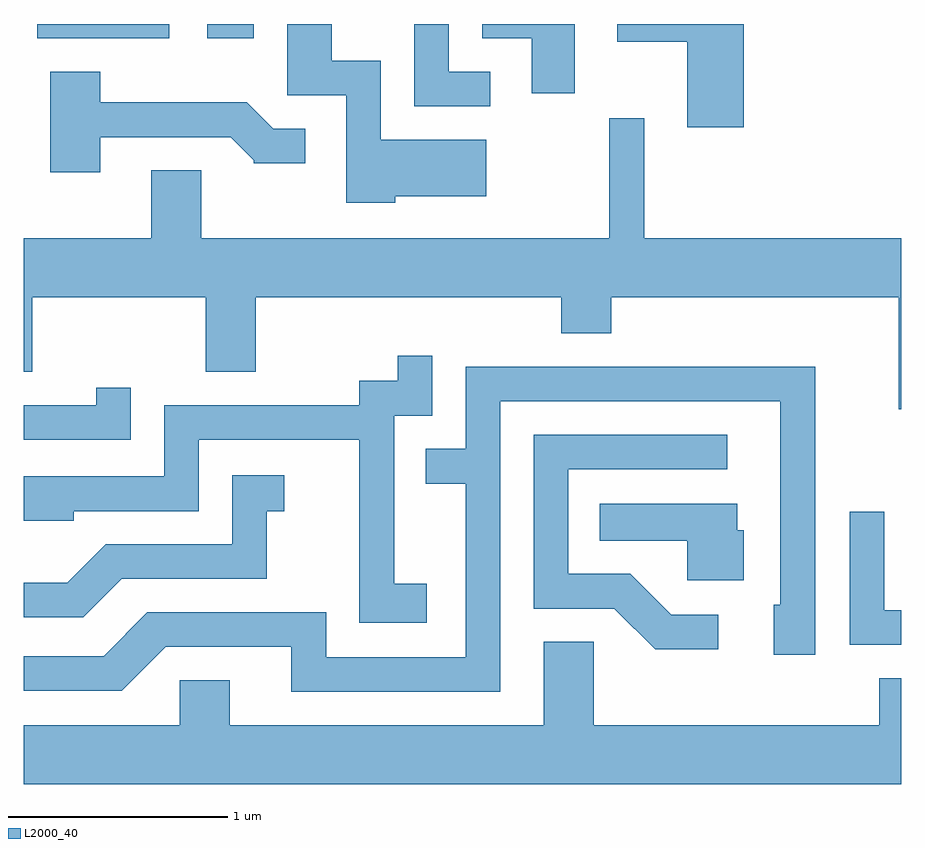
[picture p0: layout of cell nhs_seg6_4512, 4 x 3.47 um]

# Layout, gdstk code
import gdstk
lib = gdstk.Library(unit=1e-6, precision=1e-09)
def R(c, l, rs):  # rectangles x0, y0, x1, y1
    for r in rs: c.add(gdstk.rectangle(r[:2], r[2:], *l))
def P(c, l, *ps):  # polygons
    for p in ps: c.add(gdstk.Polygon(p, *l))
L2000_40 = (2000, 40)

nhs_seg6_4512 = lib.new_cell('nhs_seg6_4512')
R(nhs_seg6_4512, L2000_40, [(323.671,1560.096,324.274,1560.162), (324.446,1560.096,324.659,1560.162)])
P(nhs_seg6_4512, L2000_40, [(326.124,1560.162),(325.701,1560.162),(325.701,1560.096),(325.926,1560.096),(325.926,1559.846),(326.124,1559.846)],
  [(326.894,1560.162),(326.316,1560.162),(326.316,1560.081),(326.636,1560.081),(326.636,1559.691),(326.894,1559.691)],
  [(325.738,1559.944),(325.549,1559.944),(325.549,1560.162),(325.391,1560.162),(325.391,1559.786),(325.738,1559.786)],
  [(325.304,1559.376),(325.719,1559.376),(325.719,1559.634),(325.239,1559.634),(325.239,1559.994),(325.014,1559.994),(325.014,1560.162),(324.811,1560.162),(324.811,1559.836),(325.081,1559.836),(325.081,1559.346),(325.304,1559.346)],
  [(323.959,1559.646),(324.554,1559.646),(324.66,1559.54),(324.66,1559.526),(324.893,1559.526),(324.893,1559.684),(324.747,1559.684),(324.627,1559.804),(323.959,1559.804),(323.959,1559.944),(323.731,1559.944),(323.731,1559.486),(323.959,1559.486)],
  [(327.611,1559.184),(326.439,1559.184),(326.439,1559.733),(326.281,1559.733),(326.281,1559.184),(324.419,1559.184),(324.419,1559.494),(324.191,1559.494),(324.191,1559.184),(323.611,1559.184),(323.611,1558.576),(323.649,1558.576),(323.649,1558.916),(324.441,1558.916),(324.441,1558.576),(324.669,1558.576),(324.669,1558.916),(326.061,1558.916),(326.061,1558.751),(326.289,1558.751),(326.289,1558.916),(327.601,1558.916),(327.601,1558.406),(327.611,1558.406)],
  [(325.449,1557.609),(325.299,1557.609),(325.299,1558.376),(325.474,1558.376),(325.474,1558.648),(325.316,1558.648),(325.316,1558.534),(325.141,1558.534),(325.141,1558.424),(324.251,1558.424),(324.251,1558.099),(323.611,1558.099),(323.611,1557.896),(323.839,1557.896),(323.839,1557.941),(324.409,1557.941),(324.409,1558.266),(325.141,1558.266),(325.141,1557.431),(325.449,1557.431)],
  [(325.784,1558.441),(327.061,1558.441),(327.061,1557.514),(327.031,1557.514),(327.031,1557.286),(327.219,1557.286),(327.219,1558.599),(325.626,1558.599),(325.626,1558.224),(325.443,1558.224),(325.443,1558.066),(325.626,1558.066),(325.626,1557.274),(324.989,1557.274),(324.989,1557.479),(324.174,1557.479),(323.974,1557.279),(323.611,1557.279),(323.611,1557.121),(324.057,1557.121),(324.257,1557.321),(324.831,1557.321),(324.831,1557.116),(325.784,1557.116)],
  [(324.099,1558.503),(323.941,1558.503),(323.941,1558.424),(323.611,1558.424),(323.611,1558.266),(324.099,1558.266)],
  [(326.778,1557.469),(326.562,1557.469),(326.377,1557.654),(326.094,1557.654),(326.094,1558.131),(326.818,1558.131),(326.818,1558.289),(325.936,1558.289),(325.936,1557.496),(326.304,1557.496),(326.489,1557.311),(326.778,1557.311)],
  [(324.057,1557.631),(324.719,1557.631),(324.719,1557.941),(324.798,1557.941),(324.798,1558.104),(324.561,1558.104),(324.561,1557.789),(323.984,1557.789),(323.809,1557.614),(323.611,1557.614),(323.611,1557.456),(323.882,1557.456)],
  [(326.894,1557.854),(326.864,1557.854),(326.864,1557.974),(326.238,1557.974),(326.238,1557.806),(326.636,1557.806),(326.636,1557.626),(326.894,1557.626)],
  [(327.611,1557.489),(327.534,1557.489),(327.534,1557.938),(327.376,1557.938),(327.376,1557.331),(327.611,1557.331)],
  [(327.611,1557.179),(327.511,1557.179),(327.511,1556.964),(326.209,1556.964),(326.209,1557.344),(325.981,1557.344),(325.981,1556.964),(324.549,1556.964),(324.549,1557.169),(324.321,1557.169),(324.321,1556.964),(323.611,1556.964),(323.611,1556.696),(327.611,1556.696)])

lib.write_gds('nhs_seg6_4512.gds')
